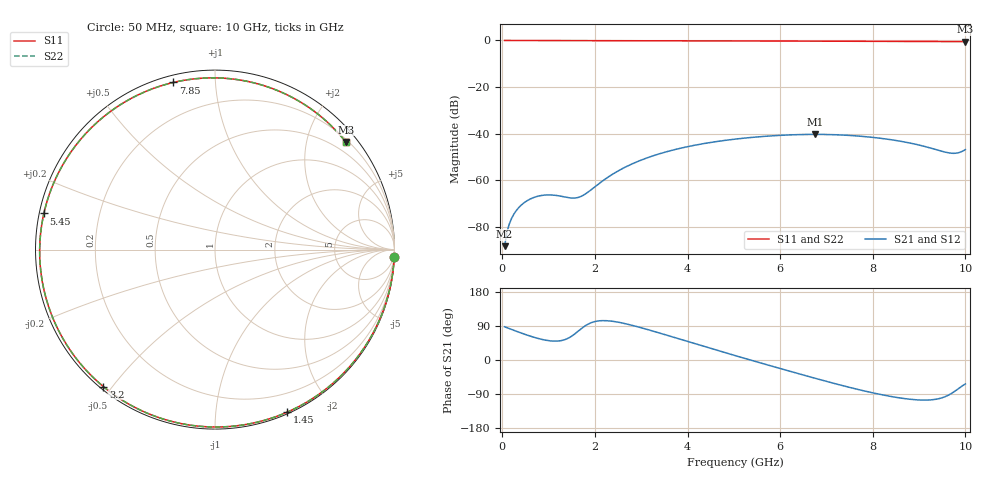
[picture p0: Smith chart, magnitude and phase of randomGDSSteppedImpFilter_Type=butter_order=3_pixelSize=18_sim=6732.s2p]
! freq	dB(S11)	phase(S11)	dB(S12)	phase(S12)
!  dB(S21)	phase(S21)	dB(S22)	phase(S22)
!S-par simulation data
#  GHz  S  DB  R 50
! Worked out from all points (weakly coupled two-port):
!   200 points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, 50 MHz to 10 GHz, reference 50 ohm
!   highest |S21| = -40.36 dB at 6.75 GHz (marker M1); lowest = -88.4 dB at 50 MHz (marker M2)
!   lowest |S11| = -0.5 dB at 10 GHz (marker M3), VSWR 34.42, Z = 12.6 + j138 ohm
!   |S11| at or under -10 dB: nowhere
!   |S22| runs from -0.5 to 0.0 dB; largest |S21 - S12| = 0
!   S11 on the Smith chart (normalised r, x): 50 MHz: 0, -47; 1.45 GHz: 0.02, -1.54; 3.2 GHz: 0.01, -0.48; 5.45 GHz: 0.01, +0.10; 7.85 GHz: 0.03, +0.78; 10 GHz: 0.25, +2.76
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0.05  -0.00 -2.4  -88.39 87.7  -88.39 87.7  -0.00 -2.4
0.15  -0.01 -7.2  -78.92 83.0  -78.92 83.0  -0.01 -7.2
0.25  -0.02 -12.0  -74.63 78.3  -74.63 78.3  -0.02 -12.0
0.35  -0.02 -16.7  -71.93 73.8  -71.93 73.8  -0.02 -16.7
0.65  -0.04 -30.7  -67.71 61.2  -67.71 61.2  -0.04 -30.7
1  -0.06 -46.6  -66.36 51.0  -66.36 51.0  -0.06 -46.6
1.45  -0.08 -66.0  -67.62 59.3  -67.62 59.3  -0.08 -66.0
1.75  -0.09 -78.2  -66.50 86.8  -66.50 86.8  -0.09 -78.2
2.5  -0.11 -106.1  -56.08 99.8  -56.08 99.8  -0.11 -106.1
3.2  -0.14 -129.1  -49.94 78.2  -49.94 78.2  -0.14 -129.1
3.4  -0.14 -135.3  -48.66 71.0  -48.66 71.0  -0.14 -135.3
4.2  -0.17 -158.5  -44.85 41.5  -44.85 41.5  -0.17 -158.5
5.05  -0.21 178.6  -42.34 10.8  -42.34 10.8  -0.21 178.6
5.45  -0.22 168.1  -41.54 -3.3  -41.54 -3.3  -0.22 168.1
6.7  -0.29 135.4  -40.37 -46.4  -40.37 -46.4  -0.29 135.3
6.75  -0.29 134.0  -40.36 -48.1  -40.36 -48.1  -0.29 134.0
7.85  -0.36 104.0  -41.35 -82.6  -41.35 -82.6  -0.36 103.9
8.35  -0.38 89.7  -42.52 -95.3  -42.52 -95.3  -0.38 89.6
9  -0.42 70.4  -44.94 -105.5  -44.94 -105.5  -0.42 70.2
9.65  -0.47 50.4  -48.34 -91.7  -48.34 -91.7  -0.47 50.3
9.85  -0.49 44.2  -48.24 -75.6  -48.24 -75.6  -0.49 44.0
10  -0.50 39.5  -46.89 -63.2  -46.89 -63.2  -0.51 39.3
